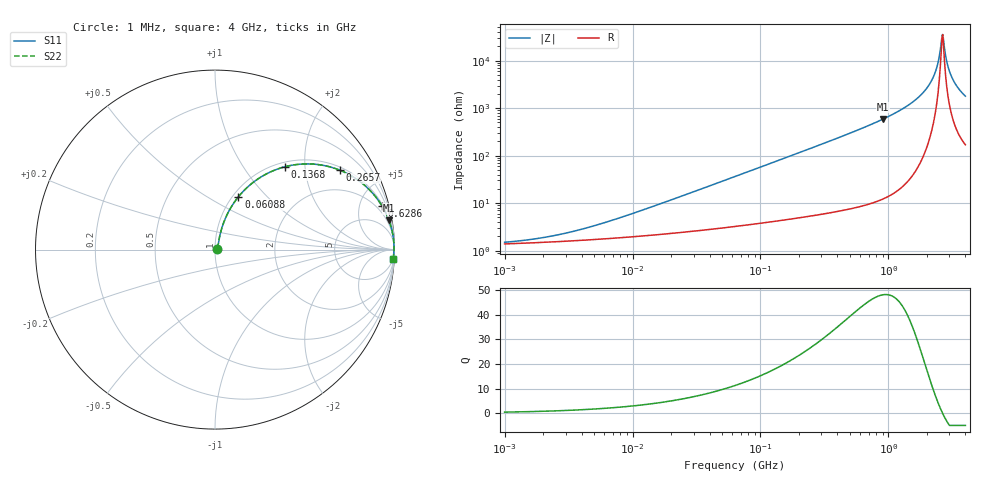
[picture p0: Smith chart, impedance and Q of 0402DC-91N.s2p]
# MHz  S  MA  R  50
!Freq  MagS11  AngS11  MagS21  AngS21  MagS12  AngS12  MagS22  AngS22
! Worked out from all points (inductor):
!   801 points, 1 MHz to 4 GHz, reference 50 ohm
!   read as one part in series: L = 91 nH near 10.33 MHz
!   highest Q = 48.2 at 913.3 MHz (marker M1), where L = 103 nH
!   self-resonance near 2.632 GHz
!   S11 on the Smith chart (normalised r, x): 1 MHz: 1.03, +0.01; 60.88 MHz: 1.06, +0.70; 136.8 MHz: 1.08, +1.57; 265.7 MHz: 1.11, +3.07; 628.6 MHz: 1.17, +7.62; 4 GHz: 4, -36
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1  0.01476 22.1  0.9863 -0.3  0.9863 -0.3  0.01476 22.1
4.016383  0.0278 53.0  0.9835 -1.3  0.9835 -1.3  0.0278 53.0
15.96482  0.09148 71.5  0.9748 -5.1  0.9748 -5.1  0.09148 71.5
60.87906  0.3211 66.1  0.9183 -18.7  0.9183 -18.7  0.3211 66.1
63.45894  0.3331 65.5  0.9139 -19.4  0.9139 -19.4  0.3331 65.5
136.7584  0.602 50.0  0.7668 -37.0  0.7668 -37.0  0.602 50.0
252.2445  0.8105 33.8  0.5565 -54.1  0.5565 -54.1  0.8105 33.8
265.6763  0.8245 32.5  0.537 -55.5  0.537 -55.5  0.8245 32.5
628.5938  0.9618 14.6  0.2525 -74.1  0.2525 -74.1  0.9618 14.6
913.2601  0.9827 9.5  0.1658 -79.3  0.1658 -79.3  0.9827 9.5
1013.11  0.9864 8.4  0.1454 -80.5  0.1454 -80.5  0.9864 8.4
1534.285  0.995 4.3  0.07543 -84.1  0.07543 -84.1  0.995 4.3
2009.408  0.9972 2.1  0.03697 -84.5  0.03697 -84.5  0.9972 2.1
2323.568  0.9975 1.0  0.01756 -81.2  0.01756 -81.2  0.9975 1.0
2447.296  0.9974 0.6  0.01083 -76.0  0.01083 -76.0  0.9974 0.6
2577.613  0.9973 0.2  0.004564 -54.0  0.004564 -54.0  0.9973 0.2
2631.662  0.9973 0.1  0.002905 -19.6  0.002905 -19.6  0.9973 0.1
2714.869  0.9971 -0.2  0.00422 47.4  0.00422 47.4  0.9971 -0.2
2919.392  0.9968 -0.7  0.01305 75.3  0.01305 75.3  0.9968 -0.7
3139.324  0.9962 -1.3  0.02255 79.8  0.02255 79.8  0.9962 -1.3
3518.882  0.9951 -2.2  0.03782 81.4  0.03782 81.4  0.9951 -2.2
4000  0.9932 -3.2  0.05552 81.4  0.05552 81.4  0.9932 -3.2
